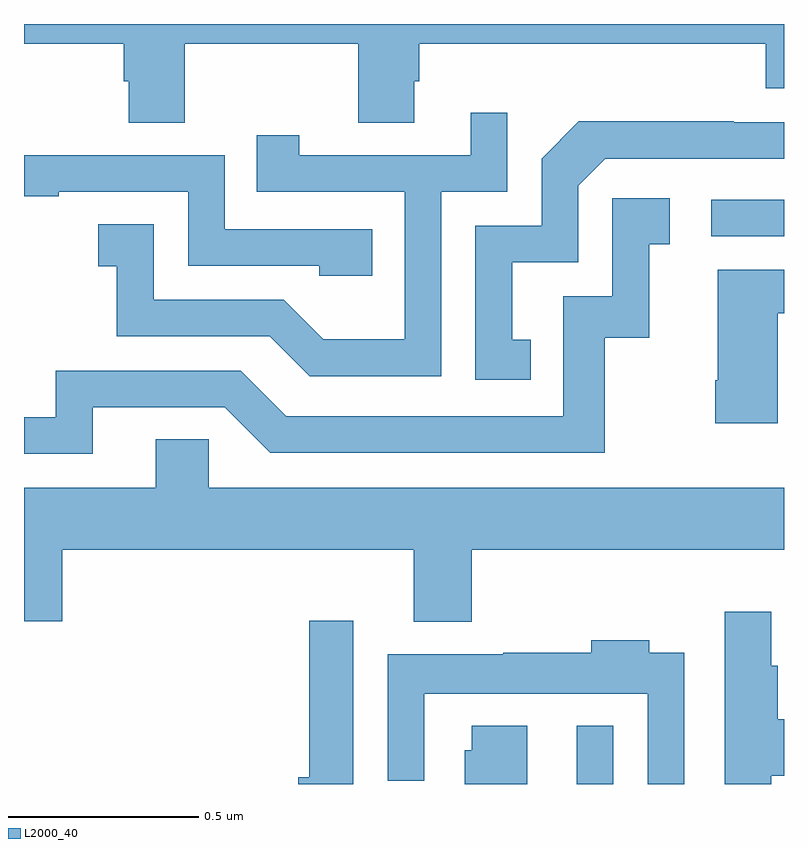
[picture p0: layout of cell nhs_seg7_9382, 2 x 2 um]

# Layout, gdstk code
import gdstk
lib = gdstk.Library(unit=1e-6, precision=1e-09)
def R(c, l, rs):  # rectangles x0, y0, x1, y1
    for r in rs: c.add(gdstk.rectangle(r[:2], r[2:], *l))
def P(c, l, *ps):  # polygons
    for p in ps: c.add(gdstk.Polygon(p, *l))
L2000_40 = (2000, 40)

nhs_seg7_9382 = lib.new_cell('nhs_seg7_9382')
R(nhs_seg7_9382, L2000_40, [(238.454,1000,238.551,1000.153), (238.809,1001.442,239,1001.538)])
P(nhs_seg7_9382, L2000_40, [(237.423,1001.948),(237.88,1001.948),(237.88,1001.74),(238.027,1001.74),(238.027,1001.85),(238.04,1001.85),(238.04,1001.948),(238.952,1001.948),(238.952,1001.831),(239,1001.831),(239,1002),(237,1002),(237,1001.948),(237.263,1001.948),(237.263,1001.85),(237.275,1001.85),(237.275,1001.74),(237.423,1001.74)],
  [(238.098,1001.559),(238.272,1001.559),(238.272,1001.767),(238.175,1001.767),(238.175,1001.655),(237.724,1001.655),(237.724,1001.707),(237.613,1001.707),(237.613,1001.559),(238.002,1001.559),(238.002,1001.17),(237.788,1001.17),(237.684,1001.274),(237.342,1001.274),(237.342,1001.473),(237.195,1001.473),(237.195,1001.363),(237.244,1001.363),(237.244,1001.178),(237.647,1001.178),(237.752,1001.073),(238.098,1001.073)],
  [(238.334,1001.169),(238.285,1001.169),(238.285,1001.373),(238.458,1001.373),(238.458,1001.574),(238.53,1001.646),(239,1001.646),(239,1001.742),(238.868,1001.742),(238.868,1001.744),(238.46,1001.744),(238.362,1001.646),(238.362,1001.469),(238.188,1001.469),(238.188,1001.064),(238.334,1001.064)],
  [(237.917,1001.46),(237.528,1001.46),(237.528,1001.655),(237,1001.655),(237,1001.547),(237.091,1001.547),(237.091,1001.559),(237.432,1001.559),(237.432,1001.364),(237.777,1001.364),(237.777,1001.337),(237.917,1001.337)],
  [(237.181,1000.992),(237.528,1000.992),(237.648,1000.872),(238.528,1000.872),(238.528,1001.175),(238.646,1001.175),(238.646,1001.421),(238.699,1001.421),(238.699,1001.542),(238.548,1001.542),(238.548,1001.283),(238.419,1001.283),(238.419,1000.968),(237.69,1000.968),(237.57,1001.088),(237.084,1001.088),(237.084,1000.965),(237,1000.965),(237,1000.869),(237.181,1000.869)],
  [(238.984,1001.239),(239,1001.239),(239,1001.353),(238.826,1001.353),(238.826,1001.062),(238.819,1001.062),(238.819,1000.95),(238.984,1000.95)],
  [(238.178,1000.616),(239,1000.616),(239,1000.78),(237.486,1000.78),(237.486,1000.907),(237.347,1000.907),(237.347,1000.78),(237,1000.78),(237,1000.428),(237.1,1000.428),(237.1,1000.616),(238.025,1000.616),(238.025,1000.427),(238.178,1000.427)],
  [(238.966,1000.022),(239,1000.022),(239,1000.17),(238.984,1000.17),(238.984,1000.311),(238.966,1000.311),(238.966,1000.453),(238.844,1000.453),(238.844,1000),(238.966,1000)],
  [(237.867,1000.429),(237.751,1000.429),(237.751,1000.018),(237.722,1000.018),(237.722,1000),(237.867,1000)],
  [(238.737,1000.345),(238.645,1000.345),(238.645,1000.378),(238.493,1000.378),(238.493,1000.345),(238.261,1000.345),(238.261,1000.342),(237.957,1000.342),(237.957,1000.008),(238.053,1000.008),(238.053,1000.238),(238.641,1000.238),(238.641,1000),(238.737,1000)],
  [(238.324,1000.153),(238.178,1000.153),(238.178,1000.089),(238.16,1000.089),(238.16,1000),(238.324,1000)])

lib.write_gds('nhs_seg7_9382.gds')
